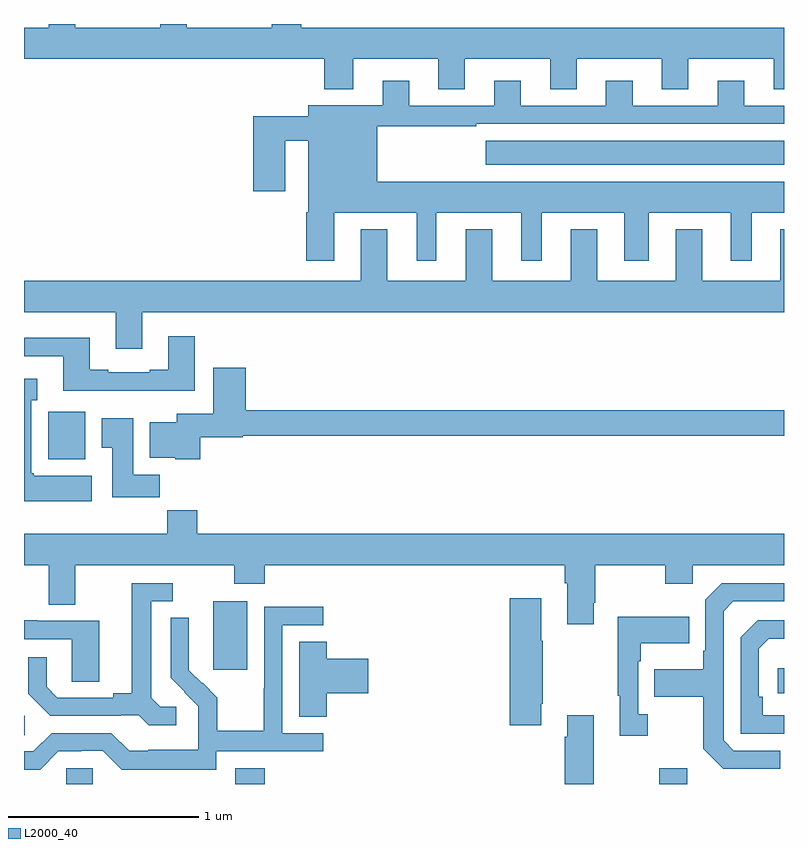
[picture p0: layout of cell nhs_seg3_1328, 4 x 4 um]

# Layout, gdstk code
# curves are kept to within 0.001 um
import gdstk
lib = gdstk.Library(unit=1e-6, precision=1e-09)
def R(c, l, rs):  # rectangles x0, y0, x1, y1
    for r in rs: c.add(gdstk.rectangle(r[:2], r[2:], *l))
def P(c, l, *ps):  # polygons
    for p in ps: c.add(gdstk.Polygon(p, *l))
L2000_40 = (2000, 40)

nhs_seg3_1328 = lib.new_cell('nhs_seg3_1328')
R(nhs_seg3_1328, L2000_40, [(179.223,730.4,179.361,730.482), (180.113,730.4,180.266,730.483), (182.344,730.4,182.491,730.483), (179,730.657,179.005,730.758), (182.967,730.878,183,731.008), (179.996,731.001,180.175,731.362), (179.127,732.11,179.323,732.36), (181.431,733.658,183,733.786)])
P(nhs_seg3_1328, L2000_40, [(181.321,734.216),(181.769,734.216),(181.769,734.056),(181.909,734.056),(181.909,734.216),(182.357,734.216),(182.357,734.056),(182.497,734.056),(182.497,734.216),(182.945,734.216),(182.945,734.056),(183,734.056),(183,734.38),(180.458,734.38),(180.458,734.4),(180.305,734.4),(180.305,734.38),(179.857,734.38),(179.857,734.4),(179.717,734.4),(179.717,734.38),(179.269,734.38),(179.269,734.4),(179.129,734.4),(179.129,734.38),(179,734.38),(179,734.216),(180.581,734.216),(180.581,734.057),(180.733,734.057),(180.733,734.216),(181.181,734.216),(181.181,734.056),(181.321,734.056)],
  [(180.634,733.406),(181.067,733.406),(181.067,733.155),(181.171,733.155),(181.171,733.406),(181.616,733.406),(181.616,733.155),(181.726,733.155),(181.726,733.406),(182.159,733.406),(182.159,733.155),(182.287,733.155),(182.287,733.406),(182.72,733.406),(182.72,733.155),(182.83,733.155),(182.83,733.406),(183,733.406),(183,733.57),(180.859,733.57),(180.859,733.863),(181.379,733.863),(181.379,733.875),(183,733.875),(183,733.971),(182.791,733.971),(182.791,734.101),(182.651,734.101),(182.651,733.971),(182.203,733.971),(182.203,734.101),(182.063,734.101),(182.063,733.971),(181.615,733.971),(181.615,734.101),(181.475,734.101),(181.475,733.971),(181.027,733.971),(181.027,734.101),(180.887,734.101),(180.887,733.972),(180.497,733.972),(180.497,733.915),(180.206,733.915),(180.206,733.521),(180.376,733.521),(180.376,733.786),(180.497,733.786),(180.497,733.41),(180.485,733.41),(180.485,733.155),(180.634,733.155)],
  [(179.623,732.884),(183,732.884),(183,733.321),(182.981,733.321),(182.981,733.048),(182.569,733.048),(182.569,733.321),(182.429,733.321),(182.429,733.048),(182.017,733.048),(182.017,733.321),(181.877,733.321),(181.877,733.048),(181.465,733.048),(181.465,733.321),(181.325,733.321),(181.325,733.048),(180.913,733.048),(180.913,733.321),(180.773,733.321),(180.773,733.048),(179,733.048),(179,732.884),(179.483,732.884),(179.483,732.69),(179.623,732.69)],
  [(179.899,732.757),(179.759,732.757),(179.759,732.58),(179.663,732.58),(179.663,732.567),(179.443,732.567),(179.443,732.58),(179.347,732.58),(179.347,732.748),(179,732.748),(179,732.651),(179.207,732.651),(179.207,732.47),(179.899,732.47)],
  [(179.927,732.224),(180.15,732.224),(180.15,732.232),(183,732.232),(183,732.368),(180.167,732.368),(180.167,732.592),(179.996,732.592),(179.996,732.349),(179.804,732.349),(179.804,732.304),(179.663,732.304),(179.663,732.116),(179.796,732.116),(179.796,732.11),(179.927,732.11)],
  [(179.356,732.022),(179.052,732.022),(179.052,732.036),(179.038,732.036),(179.038,732.419),(179.071,732.419),(179.071,732.532),(179,732.532),(179,731.888),(179.356,731.888)],
  [(179.714,732.028),(179.575,732.028),(179.575,732.325),(179.408,732.325),(179.408,732.169),(179.465,732.169),(179.465,731.91),(179.714,731.91)],
  [(181.999,731.353),(182.007,731.353),(182.007,731.552),(182.374,731.552),(182.374,731.453),(182.52,731.453),(182.52,731.552),(183,731.552),(183,731.716),(179.912,731.716),(179.912,731.84),(179.755,731.84),(179.755,731.716),(179,731.716),(179,731.552),(179.129,731.552),(179.129,731.344),(179.269,731.344),(179.269,731.552),(180.106,731.552),(180.106,731.453),(180.266,731.453),(180.266,731.552),(181.847,731.552),(181.847,731.456),(181.859,731.456),(181.859,731.241),(181.999,731.241)],
  [(179.8,730.806),(179.718,730.806),(179.671,730.853),(179.671,731.361),(179.782,731.361),(179.782,731.457),(179.567,731.457),(179.567,730.877),(179.471,730.877),(179.471,730.854),(179.176,730.854),(179.119,730.911),(179.119,731.068),(179.022,731.068),(179.022,730.874),(179.138,730.758),(179.51,730.758),(179.51,730.761),(179.604,730.761),(179.656,730.709),(179.8,730.709)],
  [(182.98,730.575),(182.736,730.575),(182.682,730.629),(182.682,731.31),(182.733,731.361),(183,731.361),(183,731.457),(182.673,731.457),(182.586,731.37),(182.586,731.101),(182.574,731.101),(182.574,731.005),(182.317,731.005),(182.317,730.858),(182.574,730.858),(182.574,730.585),(182.679,730.479),(182.98,730.479)],
  [(181.723,730.822),(181.731,730.822),(181.731,731.153),(181.723,731.153),(181.723,731.377),(181.556,731.377),(181.556,730.71),(181.723,730.71)],
  [(180.012,730.572),(180.574,730.572),(180.574,730.668),(180.36,730.668),(180.36,731.235),(180.574,731.235),(180.574,731.334),(180.264,731.334),(180.264,730.904),(180.262,730.904),(180.262,730.681),(180.017,730.681),(180.017,730.855),(179.94,730.932),(179.937,730.929),(179.867,731),(179.868,731.276),(179.772,731.276),(179.772,730.958),(179.918,730.81),(179.918,730.713),(179.916,730.713),(179.916,730.579),(179.653,730.579),(179.653,730.575),(179.553,730.575),(179.46,730.668),(179.145,730.668),(179.049,730.572),(179,730.572),(179,730.476),(179.085,730.476),(179.181,730.572),(179.3,730.572),(179.3,730.575),(179.415,730.575),(179.515,730.475),(180.012,730.475)],
  [(182.284,730.766),(182.232,730.766),(182.232,731.045),(182.245,731.045),(182.245,731.141),(182.501,731.141),(182.501,731.281),(182.124,731.281),(182.124,730.865),(182.135,730.865),(182.135,730.653),(182.284,730.653)],
  [(179.395,731.259),(179.071,731.259),(179.071,731.263),(179,731.263),(179,731.163),(179.25,731.163),(179.25,730.939),(179.395,730.939)],
  [(183,730.761),(182.888,730.761),(182.888,730.858),(182.868,730.858),(182.868,731.112),(182.921,731.165),(183,731.165),(183,731.262),(182.862,731.262),(182.772,731.172),(182.772,730.665),(183,730.665)],
  [(180.593,730.877),(180.811,730.877),(180.811,731.06),(180.593,731.06),(180.593,731.15),(180.449,731.15),(180.449,730.753),(180.593,730.753)],
  [(181.999,730.762),(181.859,730.762),(181.859,730.649),(181.847,730.649),(181.847,730.4),(181.999,730.4)])

lib.write_gds('nhs_seg3_1328.gds')
